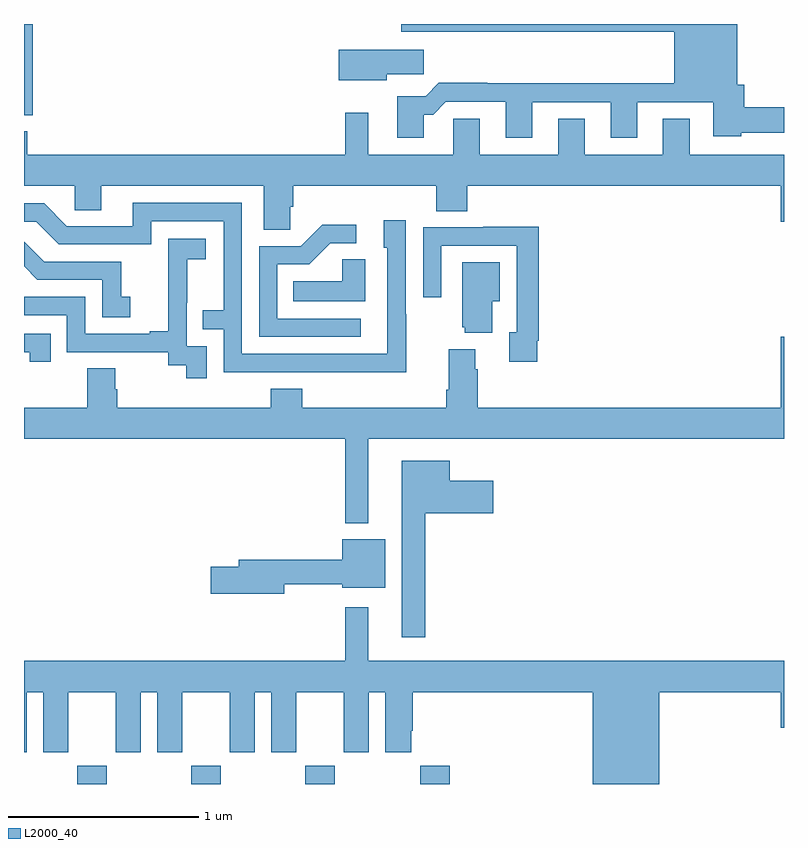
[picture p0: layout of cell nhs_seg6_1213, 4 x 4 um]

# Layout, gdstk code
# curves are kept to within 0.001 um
import gdstk
lib = gdstk.Library(unit=1e-6, precision=1e-09)
def R(c, l, rs):  # rectangles x0, y0, x1, y1
    for r in rs: c.add(gdstk.rectangle(r[:2], r[2:], *l))
def A(c, l, x, y, w, h, nx, ny, dx, dy):  # array of equal rectangles
    R(c, l, [(x+i*dx, y+j*dy, x+i*dx+w, y+j*dy+h) for i in range(nx) for j in range(ny)])
def P(c, l, *ps):  # polygons
    for p in ps: c.add(gdstk.Polygon(p, *l))
L2000_40 = (2000, 40)

nhs_seg6_1213 = lib.new_cell('nhs_seg6_1213')
A(nhs_seg6_1213, L2000_40, 185.281, 965.5, 0.155, 0.096, 3, 1, 0.6, 0)
R(nhs_seg6_1213, L2000_40, [(187.085,965.5,187.241,965.596), (185,969.021,185.045,969.5)])
P(nhs_seg6_1213, L2000_40, [(187.105,969.023),(187.154,969.023),(187.221,969.09),(187.535,969.09),(187.535,968.901),(187.675,968.901),(187.675,969.087),(188.087,969.087),(188.087,968.901),(188.227,968.901),(188.227,969.087),(188.627,969.087),(188.627,968.909),(188.775,968.909),(188.775,968.927),(189,968.927),(189,969.062),(188.792,969.062),(188.792,969.18),(188.755,969.18),(188.755,969.5),(186.986,969.5),(186.986,969.458),(188.423,969.458),(188.423,969.188),(187.439,969.188),(187.439,969.191),(187.184,969.191),(187.114,969.121),(186.965,969.121),(186.965,968.901),(187.105,968.901)],
  [(186.91,969.235),(187.105,969.235),(187.105,969.364),(186.656,969.364),(186.656,969.203),(186.91,969.203)],
  [(186.402,968.539),(186.416,968.539),(186.416,968.648),(187.169,968.648),(187.169,968.515),(187.334,968.515),(187.334,968.648),(188.984,968.648),(188.984,968.46),(189,968.46),(189,968.812),(188.503,968.812),(188.503,969.002),(188.363,969.002),(188.363,968.812),(187.951,968.812),(187.951,969.002),(187.811,969.002),(187.811,968.812),(187.399,968.812),(187.399,969.002),(187.26,969.002),(187.26,968.812),(186.811,968.812),(186.811,969.034),(186.69,969.034),(186.69,968.812),(185.018,968.812),(185.018,968.936),(185,968.936),(185,968.648),(185.268,968.648),(185.268,968.521),(185.407,968.521),(185.407,968.648),(186.263,968.648),(186.263,968.416),(186.402,968.416)],
  [(187.011,967.973),(187.008,967.973),(187.008,968.467),(186.893,968.467),(186.893,968.322),(186.912,968.322),(186.912,967.764),(186.147,967.764),(186.147,968.559),(185.573,968.559),(185.573,968.436),(185.226,968.436),(185.106,968.556),(185,968.556),(185,968.46),(185.064,968.46),(185.184,968.34),(185.67,968.34),(185.67,968.463),(186.051,968.463),(186.051,967.994),(185.941,967.994),(185.941,967.893),(186.051,967.893),(186.051,967.668),(187.011,967.667)],
  [(186.772,967.95),(186.333,967.95),(186.333,968.235),(186.502,968.235),(186.613,968.346),(186.748,968.346),(186.748,968.444),(186.569,968.444),(186.456,968.331),(186.237,968.331),(186.237,967.854),(186.772,967.854)],
  [(187.702,967.834),(187.709,967.834),(187.709,968.432),(187.417,968.432),(187.417,968.43),(187.101,968.43),(187.101,968.061),(187.197,968.061),(187.197,968.334),(187.593,968.334),(187.593,967.878),(187.553,967.878),(187.553,967.722),(187.702,967.722)],
  [(185.961,967.803),(185.856,967.803),(185.856,968.033),(185.858,968.033),(185.858,968.261),(185.956,968.261),(185.956,968.371),(185.758,968.371),(185.758,968.165),(185.759,968.165),(185.759,967.882),(185.663,967.882),(185.663,967.869),(185.322,967.869),(185.322,968.064),(185,968.064),(185,967.968),(185.226,967.968),(185.226,967.773),(185.76,967.773),(185.76,967.705),(185.853,967.705),(185.853,967.635),(185.961,967.635)],
  [(185.56,968.065),(185.511,968.065),(185.511,968.25),(185.107,968.25),(185.002,968.355),(185,968.355),(185,968.224),(185.07,968.154),(185.412,968.154),(185.412,967.956),(185.56,967.956)],
  [(186.796,968.261),(186.675,968.261),(186.675,968.146),(186.418,968.146),(186.418,968.042),(186.796,968.042)],
  [(187.465,968.042),(187.504,968.042),(187.504,968.245),(187.307,968.245),(187.307,967.905),(187.319,967.905),(187.319,967.874),(187.465,967.874)],
  [(185.141,967.869),(185,967.869),(185,967.773),(185.03,967.773),(185.03,967.722),(185.141,967.722)],
  [(185.332,967.688),(185.332,967.48),(185,967.48),(185,967.316),(186.69,967.316),(186.69,966.872),(186.811,966.872),(186.811,967.316),(189,967.316),(189,967.855),(188.984,967.855),(188.984,967.48),(187.388,967.48),(187.388,967.682),(187.375,967.682),(187.375,967.789),(187.235,967.789),(187.235,967.576),(187.223,967.576),(187.223,967.48),(186.464,967.48),(186.464,967.579),(186.299,967.579),(186.299,967.48),(185.492,967.48),(185.492,967.578),(185.479,967.578),(185.479,967.688)],
  [(187.111,966.926),(187.471,966.926),(187.471,967.096),(187.24,967.096),(187.24,967.201),(186.989,967.201),(186.989,966.273),(187.111,966.273)],
  [(186.37,966.552),(186.674,966.552),(186.674,966.533),(186.901,966.533),(186.901,966.787),(186.674,966.787),(186.674,966.68),(186.131,966.68),(186.131,966.644),(185.982,966.644),(185.982,966.502),(186.37,966.502)],
  [(188.344,965.984),(188.984,965.984),(188.984,965.796),(189,965.796),(189,966.148),(186.811,966.148),(186.811,966.43),(186.69,966.43),(186.69,966.148),(185,966.148),(185,965.667),(185.014,965.667),(185.014,965.984),(185.102,965.984),(185.102,965.667),(185.233,965.667),(185.233,965.984),(185.483,965.984),(185.483,965.667),(185.614,965.667),(185.614,965.984),(185.702,965.984),(185.702,965.667),(185.833,965.667),(185.833,965.984),(186.083,965.984),(186.083,965.667),(186.214,965.667),(186.214,965.984),(186.302,965.984),(186.302,965.667),(186.433,965.667),(186.433,965.984),(186.683,965.984),(186.683,965.667),(186.814,965.667),(186.814,965.984),(186.902,965.984),(186.902,965.667),(187.039,965.667),(187.039,965.779),(187.046,965.779),(187.046,965.984),(187.994,965.984),(187.994,965.5),(188.344,965.5)])

lib.write_gds('nhs_seg6_1213.gds')
